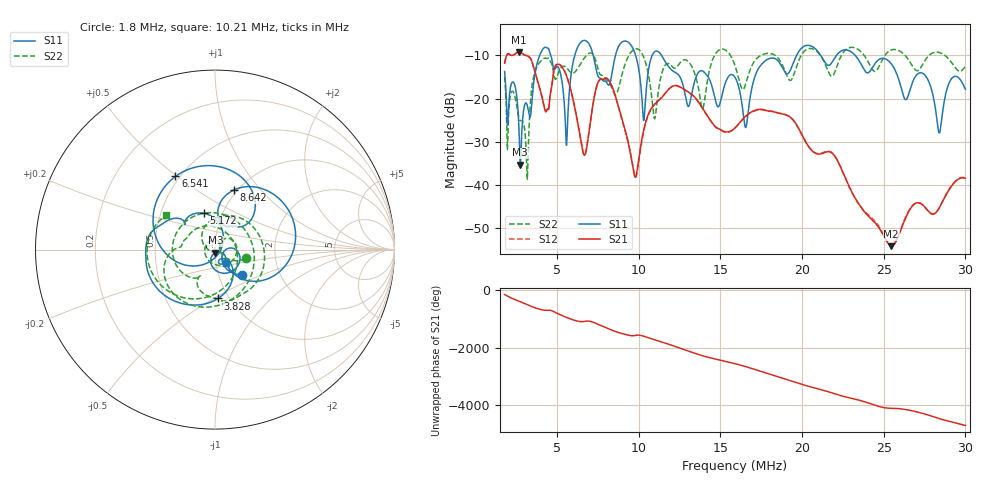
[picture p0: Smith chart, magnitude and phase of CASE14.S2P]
!Agilent Technologies,E5061B,MY49101568,A.02.00
!Date: Wed Mar 01 12:38:58 2023
!Data & Calibration Information:
!Freq	S11:SOLT2(OFF)	S21:SOLT2(OFF)	S12:SOLT2(OFF)	S22:SOLT2(OFF)
# Hz S dB R 50
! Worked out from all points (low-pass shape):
!   1155 points, 1.8 MHz to 30 MHz, reference 50 ohm
!   highest |S21| = -9.19 dB at 2.655 MHz (marker M1); lowest = -54.1 dB at 25.45 MHz (marker M2)
!   |S21| within 3 dB of the highest: start of sweep to 3.536 MHz; 4.956 MHz to 5.18 MHz (223.8 kHz wide, 4.42 % of centre)
!   lowest |S11| = -35.3 dB at 2.753 MHz (marker M3), VSWR 1.04, Z = 50.2 - j1.72 ohm
!   |S11| at or under -10 dB: start of sweep to 3.942 MHz; 11.41 MHz to 19.67 MHz (8.258 MHz wide, 53.1 % of centre); 23.26 MHz to end of sweep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
!   |S22| runs from -38.7 to -8.1 dB; largest |S21 - S12| = 0.0045
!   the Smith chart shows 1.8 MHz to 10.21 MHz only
!   S11 on the Smith chart (normalised r, x): 1.8 MHz: 1.29, -0.38; 3.828 MHz: 0.89, -0.52; 5.172 MHz: 0.82, +0.35; 6.541 MHz: 0.47, +0.49; 8.642 MHz: 0.96, +0.73; 10.21 MHz: 1.12, -0.17
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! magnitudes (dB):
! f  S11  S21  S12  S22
! 1.8 MHz  -13.7  -11.8  -11.8  -14.9
! 2.655 MHz  -25.0  -9.2  -9.2  -24.1
! 2.753 MHz  -35.3  -9.3  -9.2  -25.1
! 3.193 MHz  -21.6  -10.1  -10.1  -38.7
! 3.828 MHz  -11.3  -16.0  -16.1  -12.2
! 5.172 MHz  -13.5  -12.2  -12.1  -13.3
! 5.588 MHz  -30.8  -14.7  -14.7  -12.8
! 6.516 MHz  -6.7  -30.7  -30.8  -11.5
! 6.541 MHz  -6.7  -31.2  -31.3  -11.4
! 7.592 MHz  -15.2  -15.7  -15.8  -14.0
! 8.642 MHz  -9.2  -20.2  -20.3  -19.0
! 9.766 MHz  -9.4  -38.0  -37.9  -8.5
! 10.21 MHz  -20.1  -29.2  -29.7  -9.5
! 11.21 MHz  -9.1  -20.5  -20.5  -18.3
! 13.04 MHz  -21.8  -18.4  -18.5  -11.4
! 15.9 MHz  -15.0  -26.8  -26.8  -12.3
! 16.56 MHz  -26.7  -24.0  -24.1  -16.5
! 20.62 MHz  -7.9  -32.1  -32.1  -8.4
! 25.31 MHz  -11.3  -53.7  -53.6  -9.0
! 25.45 MHz  -11.9  -54.1  -54.0  -8.7
! 28.39 MHz  -27.9  -45.3  -45.3  -9.3
! 30 MHz  -17.8  -38.4  -38.4  -12.5
